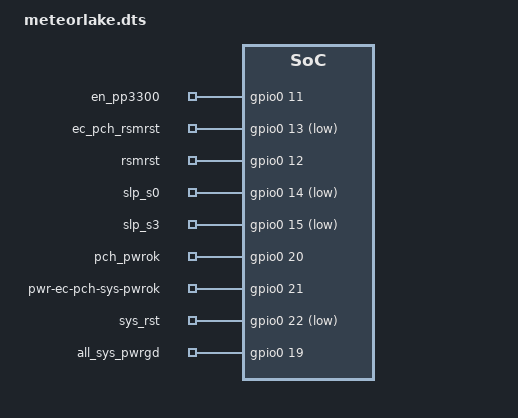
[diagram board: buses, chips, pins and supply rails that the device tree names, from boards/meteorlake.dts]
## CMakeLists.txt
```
# Copyright 2021 The ChromiumOS Authors
# Use of this source code is governed by a BSD-style license that can be
# found in the LICENSE file.

cmake_minimum_required(VERSION 3.13.1)
find_package(Zephyr REQUIRED HINTS "${ZEPHYR_BASE}")
project(ap_power)

add_subdirectory(${PLATFORM_EC}/zephyr/test/test_utils test_utils)

# Include the local test directory for shimmed_test_tasks.h
zephyr_include_directories("${CMAKE_CURRENT_SOURCE_DIR}")
zephyr_include_directories("${CMAKE_CURRENT_SOURCE_DIR}/include")

target_sources(app PRIVATE
  src/ap_pwrseq.c
  src/console_command.c
  src/events.c
  src/hibdelay.c
  src/hibernate.c
  src/host_command.c
  src/test_mocks.c
  src/main.c)

# Generic architecture tests
target_sources_ifdef(CONFIG_TEST_AP_POWER_ADL app PRIVATE
  src/boards/alderlake.c src/signals.c)

target_sources_ifdef(CONFIG_TEST_AP_POWER_MTL app PRIVATE
  src/boards/meteorlake.c)

target_sources_ifdef(CONFIG_X86_NON_DSX_PWRSEQ_CONSOLE app PRIVATE
  src/pwrseq_console.c)

# Project specific tests
target_sources_ifdef(CONFIG_TEST_AP_POWER_BROX app PRIVATE
  ${PLATFORM_EC_PROGRAM_DIR}/brox/src/board_power.c)

target_sources_ifdef(CONFIG_TEST_AP_POWER_ATRIARVP app PRIVATE
  ${PLATFORM_EC_PROGRAM_DIR}/atria/src/rvp_board_power.c
  src/boards/atriarvp.c)

target_sources_ifdef(CONFIG_TEST_AP_POWER_OCELOTRVP app PRIVATE
  ${PLATFORM_EC_PROGRAM_DIR}/intelrvp/src/dc_jack.c
  ${PLATFORM_EC_PROGRAM_DIR}/ocelot/src/rvp_board_id.c
  ${PLATFORM_EC_PROGRAM_DIR}/ocelot/src/rvp_board_power.c
  ${PLATFORM_EC_PROGRAM_DIR}/ocelot/src/rvp_usbc_runtime.c
  src/boards/ocelotrvp.c)

zephyr_include_directories_ifdef(CONFIG_TEST_AP_POWER_OCELOTRVP
  "${PLATFORM_EC_PROGRAM_DIR}/intelrvp/include"
  "${PLATFORM_EC_PROGRAM_DIR}/ocelot/include")
```

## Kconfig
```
# Copyright 2022 The ChromiumOS Authors
# Use of this source code is governed by a BSD-style license that can be
# found in the LICENSE file.

config TEST_AP_POWER_ADL
	bool "AP power sequence tests for Alderlake"
	help
	  Run the AP power sequence tests for the Alderlake chipset.
	  This is a generic Alderlake implementation that doesn't
	  match a particular board.

config TEST_AP_POWER_MTL
	bool "AP power sequence tests for Meteorlake"
	help
	  Run the AP power sequence tests for the Meteorlake chipset.
	  This is a generic Meteorlake implementation that doesn't
	  match a particular board.

config TEST_AP_POWER_ATRIARVP
	bool "AP Power sequence tests for Atria RVP project"
	help
	  Run the AP power sequence tests using the Atria RVP devicetree
	  configuration and the Atria RVP project specific source files.

config TEST_AP_POWER_BROX
	bool "AP Power sequence tests for Brox project"
	help
	  Run the AP power sequence tests using the Brox devicetree
	  configuration and the Brox project specific source files.

config TEST_AP_POWER_OCELOTRVP
	bool "AP Power sequence tests for Ocelot RVP project"
	default y if BOARD_OCELOTRVP_ITE || BOARD_OCELOTRVP_NPCX
	select EMUL_POWER_SIGNALS
	help
	  Run the AP power sequence tests using the Ocelot RVP devicetree
	  configuration and the Ocelot RVP project specific source files.

config TEST_AP_POWER_RECOVERY_MODE
	bool "AP power sequencing tests for recovery boot"
	help
	  Run AP power sequencing tests, but boot into recovery mode and verify
	  functionality of the CSE early recovery GPIO driver.

rsource "../../program/ocelot/Kconfig"
```

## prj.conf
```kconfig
<<<<<<< HEAD   (453fd99d5363bf9651b2fb0d3ffbbab7386a6376 program,zmake: drop cmsis references)
# Copyright 2022 The ChromiumOS Authors
# Use of this source code is governed by a BSD-style license that can be
# found in the LICENSE file.

CONFIG_ZTEST=y
CONFIG_ZTEST_ASSERT_VERBOSE=1
CONFIG_ZTEST_MOCKING=y
CONFIG_ZTEST_PARAMETER_COUNT=24
CONFIG_TEST=y
CONFIG_ASSERT=y

# Print logs from Zephyr LOG_MODULE to stdout
CONFIG_UART_NATIVE_PTY_0_ON_STDINOUT=y

# Simulate 10 ticks per ms
CONFIG_SYS_CLOCK_TICKS_PER_SEC=10000
CONFIG_TASKS_SET_TEST_RUNNER_TID_RULE=y

# Enable exception stack traces for better errors
CONFIG_EXCEPTION_STACK_TRACE=y

# Enable debugging features
CONFIG_DEBUG=y
CONFIG_X86_DEBUG_INFO=y
CONFIG_DEBUG_OPTIMIZATIONS=y
CONFIG_PLATFORM_EC_CONSOLE_DEBUG=y
CONFIG_SHELL_BACKEND_DUMMY=y
CONFIG_SHELL_BACKEND_SERIAL=n
# We aren't using the serial console, but there is still a lot of code that
# assumes that a serial port exists.
CONFIG_SERIAL=y

CONFIG_PLATFORM_EC=y
CONFIG_CROS_EC=y
CONFIG_SHIMMED_TASKS=y
CONFIG_EMUL=y
CONFIG_GPIO=y
CONFIG_HEAP_MEM_POOL_SIZE=1024

CONFIG_AP_PWRSEQ_STACK_SIZE=1024

CONFIG_ESPI=y
CONFIG_EMUL_ESPI_HOST=y
CONFIG_ESPI_PERIPHERAL_ACPI_SHM_REGION=y
CONFIG_ESPI_PERIPHERAL_CUSTOM_OPCODE=y
CONFIG_ESPI_PERIPHERAL_EC_HOST_CMD=y
CONFIG_PLATFORM_EC_HOSTCMD=y
CONFIG_PLATFORM_EC_CHIPSET_RESET_HOOK=y

# Short delay for hibernate
CONFIG_PLATFORM_EC_HIBERNATE_DELAY_SEC=20

# These items are not required.
CONFIG_PLATFORM_EC_BACKLIGHT_LID=n
CONFIG_PLATFORM_EC_SWITCH=n
CONFIG_PLATFORM_EC_VBOOT_HASH=n

CONFIG_PLATFORM_EC_LID_SWITCH=y
CONFIG_PLATFORM_EC_POWER_BUTTON=y
CONFIG_PLATFORM_EC_HOST_INTERFACE_ESPI=y
||||||| BASE   (0cb93ccd933607defa9592c423c9a9fb4946fd4d anakin: Set PDC source PDO overcurrent capability)
# Copyright 2022 The ChromiumOS Authors
# Use of this source code is governed by a BSD-style license that can be
# found in the LICENSE file.

CONFIG_ZTEST=y
CONFIG_ZTEST_ASSERT_VERBOSE=1
CONFIG_ZTEST_MOCKING=y
CONFIG_ZTEST_PARAMETER_COUNT=24
CONFIG_TEST=y
CONFIG_ASSERT=y

# Print logs from Zephyr LOG_MODULE to stdout
CONFIG_NATIVE_UART_0_ON_STDINOUT=y

# Simulate 10 ticks per ms
CONFIG_SYS_CLOCK_TICKS_PER_SEC=10000
CONFIG_TASKS_SET_TEST_RUNNER_TID_RULE=y

# Enable exception stack traces for better errors
CONFIG_EXCEPTION_STACK_TRACE=y

# Enable debugging features
CONFIG_DEBUG=y
CONFIG_X86_DEBUG_INFO=y
CONFIG_DEBUG_OPTIMIZATIONS=y
CONFIG_PLATFORM_EC_CONSOLE_DEBUG=y
CONFIG_SHELL_BACKEND_DUMMY=y
CONFIG_SHELL_BACKEND_SERIAL=n
# We aren't using the serial console, but there is still a lot of code that
# assumes that a serial port exists.
CONFIG_SERIAL=y

CONFIG_PLATFORM_EC=y
CONFIG_CROS_EC=y
CONFIG_SHIMMED_TASKS=y
CONFIG_EMUL=y
CONFIG_GPIO=y
CONFIG_HEAP_MEM_POOL_SIZE=1024

CONFIG_AP_PWRSEQ_STACK_SIZE=1024

CONFIG_ESPI=y
CONFIG_EMUL_ESPI_HOST=y
CONFIG_ESPI_PERIPHERAL_ACPI_SHM_REGION=y
CONFIG_ESPI_PERIPHERAL_CUSTOM_OPCODE=y
CONFIG_ESPI_PERIPHERAL_EC_HOST_CMD=y
CONFIG_PLATFORM_EC_HOSTCMD=y
CONFIG_PLATFORM_EC_CHIPSET_RESET_HOOK=y

# Short delay for hibernate
CONFIG_PLATFORM_EC_HIBERNATE_DELAY_SEC=20

# These items are not required.
CONFIG_PLATFORM_EC_BACKLIGHT_LID=n
CONFIG_PLATFORM_EC_SWITCH=n
CONFIG_PLATFORM_EC_VBOOT_HASH=n

CONFIG_PLATFORM_EC_LID_SWITCH=y
CONFIG_PLATFORM_EC_POWER_BUTTON=y
CONFIG_PLATFORM_EC_HOST_INTERFACE_ESPI=y
=======
>>>>>>> BRANCH (86da3bbeafeffe5727f5bfec7d9eed87995f2661 UPSTREAM: driver: add new ALS CM36781 driver code)
```

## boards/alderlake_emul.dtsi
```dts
/* Copyright 2022 The ChromiumOS Authors
 * Use of this source code is governed by a BSD-style license that can be
 * found in the LICENSE file.
 */

/ {
	en_pp3300_emul: en-pp3300-emul {
		compatible = "intel,ap-pwr-signal-emul";
		input-signal = <&en_pp3300>;
		init-value = <0>;
		pp3300-dsw-pwrok-emul {
			output-signal = <&dsw_pwrok>;
			assert-delay-ms = <10>;
			init-value= <0>;
		};
	};

	en_pp5000_emul: en-pp5000-emul {
		compatible = "intel,ap-pwr-signal-emul";
		input-signal = <&en_pp5000>;
		init-value = <0>;
		pp5000-rsmrst-emul {
			output-signal = <&rsmrst>;
			assert-delay-ms = <40>;
			init-value= <0>;
		};
	};

	ec_soc_dsw_pwrok_emul: ec-soc-dsw-pwrok-emul {
		compatible = "intel,ap-pwr-signal-emul";
		input-signal = <&ec_soc_dsw_pwrok>;
		init-value = <0>;
		ec-dsw-pwrok-slp-sus-emul {
			output-signal = <&slp_sus>;
			assert-delay-ms = <95>;
			init-value= <1>;
			invert-value;
		};
	};

	ec_pch_rsmrst_emul: ec-pch-rsmrst-emul {
		compatible = "intel,ap-pwr-signal-emul";
		input-signal = <&ec_pch_rsmrst>;
		init-value = <1>;
		ec-pch-rsmrst-slp-s5-emul {
			output-signal = <&slp_s5>;
			deassert-delay-ms = <20>;
			init-value= <1>;
		};
		ec-pch-rsmrst-slp-s4-emul {
			output-signal = <&slp_s4>;
			deassert-delay-ms = <30>;
			init-value= <1>;
		};
		ec-pch-rsmrst-slp-s3-emul {
			output-signal = <&slp_s3>;
			deassert-delay-ms = <40>;
			init-value= <1>;
		};
		ec-pch-rsmrst-slp-s0-emul {
			output-signal = <&slp_s0>;
			deassert-delay-ms = <45>;
			init-value= <1>;
		};
		ec-pch-rsmrst-all-sys-pwrgd {
			output-signal = <&all_sys_pwrgd>;
			deassert-delay-ms = <50>;
			init-value= <0>;
			invert-value;
		};
	};

	tp-sys-g3-to-s0 {
		compatible = "intel,ap-pwr-test-platform";
		nodes = <&en_pp3300_emul &en_pp5000_emul
			      &ec_soc_dsw_pwrok_emul &ec_pch_rsmrst_emul>;
	};

	pch_pwrok_power_fail_emul: pch-pwrok-power-fail-emul {
		compatible = "intel,ap-pwr-signal-emul";
		input-signal = <&pch_pwrok>;
		init-value = <0>;
		pch-pwrok-dsw-pwrok-emul {
			output-signal = <&dsw_pwrok>;
			assert-delay-ms = <50>;
			invert-value;
		};
		pch-pwrok-slp-sus-emul {
			output-signal = <&slp_sus>;
			assert-delay-ms = <60>;
		};
	};

	tp-sys-s0-power-fail {
		compatible = "intel,ap-pwr-test-platform";
		nodes = <&pch_pwrok_power_fail_emul>;
	};

	pch_pwrok_all_sys_pwrgd_fail_emul: pch-pwrok-all-sys-pwrgd-fail-emul {
		compatible = "intel,ap-pwr-signal-emul";
		input-signal = <&pch_pwrok>;
		init-value = <0>;
		edge = "EDGE_ACTIVE_ON_ASSERT";
		/* Power fails before SYS_PWROK is generated */
		pch-pwrok-all-sys-pwrgd-emul {
			output-signal = <&all_sys_pwrgd>;
			assert-delay-ms = <10>;
			invert-value;
		};
		pch-pwrok-dsw-pwrok-emul {
			output-signal = <&dsw_pwrok>;
			assert-delay-ms = <10>;
			invert-value;
		};
	};

	tp-sys-g3-to-s0-all-sys-pwrgd-fail {
		compatible = "intel,ap-pwr-test-platform";
		nodes = <&en_pp3300_emul &en_pp5000_emul
			      &ec_soc_dsw_pwrok_emul &ec_pch_rsmrst_emul
			      &pch_pwrok_all_sys_pwrgd_fail_emul>;
	};

	pch_pwrok_power_down_emul: pch-pwrok-power-down-emul {
		compatible = "intel,ap-pwr-signal-emul";
		input-signal = <&pch_pwrok>;
		init-value = <0>;
		edge = "EDGE_ACTIVE_ON_ASSERT";
		/* Stay in S0 until after SYS_PWROK is generated */
		pch-pwrok-slp-sus-emul {
			output-signal = <&slp_sus>;
			assert-delay-ms = <120>;
		};

		pch_pwrok-rsmrst-emul {
			output-signal = <&rsmrst>;
			assert-delay-ms = <110>;
		};

		pch-pwrok-slp-s5-emul {
			output-signal = <&slp_s5>;
			assert-delay-ms = <100>;
		};

		pch-pwrok-slp-s4-emul {
			output-signal = <&slp_s4>;
			assert-delay-ms = <80>;
		};

		pch-pwrok-slp-s3-emul {
			output-signal = <&slp_s3>;
			assert-delay-ms = <70>;
		};

		pch-pwrok-slp-s0-emul {
			output-signal = <&slp_s0>;
			assert-delay-ms = <65>;
		};
	};

	tp-sys-g3-to-s0-power-down {
		compatible = "intel,ap-pwr-test-platform";
		nodes = <&en_pp3300_emul &en_pp5000_emul
			      &ec_soc_dsw_pwrok_emul &ec_pch_rsmrst_emul
			      &pch_pwrok_power_down_emul>;
	};

	tp-sys-s5-slp-sus-fail {
		compatible = "intel,ap-pwr-test-platform";
		nodes = <&en_pp3300_emul>;
	};

	ec_pch_rsmrst_s4_dsw_pwrok_fail_emul:
			ec-pch-rsmrst-s4-dsw-pwrok-fail-emul {
		compatible = "intel,ap-pwr-signal-emul";
		input-signal = <&ec_pch_rsmrst>;
		init-value = <1>;
		ec-pch-rsmrst-slp-s5-emul {
			output-signal = <&slp_s5>;
			deassert-delay-ms = <20>;
			init-value= <1>;
		};
		ec-pch-rsmrst-slp-s4-emul {
			output-signal = <&slp_s4>;
			/* DSW_PWROK drops while still in S4 */
			deassert-delay-ms = <100>;
			init-value= <1>;
		};
		pch-pwrok-dsw-pwrok-emul {
			output-signal = <&dsw_pwrok>;
			deassert-delay-ms = <50>;
		};
	};

	tp-sys-s4-dsw-pwrok-fail {
		compatible = "intel,ap-pwr-test-platform";
		nodes = <&en_pp3300_emul &en_pp5000_emul &ec_soc_dsw_pwrok_emul
			     &ec_pch_rsmrst_s4_dsw_pwrok_fail_emul>;
	};

	ec_pch_rsmrst_s3_dsw_pwrok_fail_emul:
			ec-pch-rsmrst-s3-dsw-pwrok-fail-emul {
		compatible = "intel,ap-pwr-signal-emul";
		input-signal = <&ec_pch_rsmrst>;
		init-value = <1>;
		edge = "EDGE_ACTIVE_ON_DEASSERT";
		ec-pch-rsmrst-slp-s5-emul {
			output-signal = <&slp_s5>;
			deassert-delay-ms = <20>;
			init-value= <1>;
		};
		ec-pch-rsmrst-slp-s4-emul {
			output-signal = <&slp_s4>;
			deassert-delay-ms = <30>;
			init-value= <1>;
		};
		ec-pch-rsmrst-slp-s3-emul {
			output-signal = <&slp_s3>;
			/* DSW_PWROK drops while still in S3 */
			deassert-delay-ms = <100>;
			init-value= <1>;
		};
		pch-pwrok-dsw-pwrok-emul {
			output-signal = <&dsw_pwrok>;
			deassert-delay-ms = <50>;
		};
	};

	tp-sys-s3-dsw-pwrok-fail {
		compatible = "intel,ap-pwr-test-platform";
		nodes = <&en_pp3300_emul &en_pp5000_emul &ec_soc_dsw_pwrok_emul
			     &ec_pch_rsmrst_s3_dsw_pwrok_fail_emul>;
	};

	ec_pch_rsmrst_s3_rsmrst_deassert_emul:
		ec-pch-rsmrst-s3-rsmrst-deassert-emul {
		compatible = "intel,ap-pwr-signal-emul";
		input-signal = <&ec_pch_rsmrst>;
		init-value = <1>;
		edge = "EDGE_ACTIVE_ON_DEASSERT";
		ec-pch-rsmrst-slp-s5-emul {
			output-signal = <&slp_s5>;
			deassert-delay-ms = <20>;
			init-value= <1>;
		};
		ec-pch-rsmrst-slp-s4-emul {
			output-signal = <&slp_s4>;
			deassert-delay-ms = <30>;
			init-value= <1>;
		};
		ec-pch-rsmrst-slp-s3-emul {
			output-signal = <&slp_s3>;
			deassert-delay-ms = <40>;
			init-value= <1>;
		};
		ec-pch-rsmrst-slp-s3-deassert-emul {
			output-signal = <&slp_s3>;
			deassert-delay-ms = <60>;
			invert-value;
		};
		pch_pch-rsmrst-rsmrst-deassert-emul {
			output-signal = <&rsmrst>;
			deassert-delay-ms = <100>;
		};
	};

	tp-sys-s3-rsmrst-fail {
		compatible = "intel,ap-pwr-test-platform";
		nodes = <&en_pp3300_emul &en_pp5000_emul &ec_soc_dsw_pwrok_emul
			     &ec_pch_rsmrst_s3_rsmrst_deassert_emul>;
	};

	pch_sleep: pch-sleep {
		compatible = "intel,ap-pwr-signal-emul";
		input-signal = <&pch_pwrok>;

		slp-s0-suspend-emul {
			output-signal = <&slp_s0>;
			init-value=<1>;
		};
	};

	tp-sys-sleep {
		compatible = "intel,ap-pwr-test-platform";
		nodes = <&pch_sleep>;
	};

	pch_wake: pch-wake {
		compatible = "intel,ap-pwr-signal-emul";
		input-signal = <&pch_pwrok>;

		slp-s0-resume-emul {
			output-signal = <&slp_s0>;
			init-value=<0>;
		};
	};

	tp-sys-wake {
		compatible = "intel,ap-pwr-test-platform";
		nodes = <&pch_wake>;
	};

};
```

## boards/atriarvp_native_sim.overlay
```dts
/* Copyright 2026 The ChromiumOS Authors
 * Use of this source code is governed by a BSD-style license that can be
 * found in the LICENSE file.
 */

#include <board-overlays/native_sim.dts>
#include <dt-bindings/gpio_defines.h>
#include "../../../program/atria/power_signals.dtsi"
#include "mtl_emul.dtsi"

/ {
	common-pwrseq {
		s5-inactivity-timeout = <1>;
		sys-pwrok-delay = <10>;
		all-sys-pwrgd-timeout = <20>;
	};
};

/* Assign GPIO pins to all power signals that need them.
 * Clear GPIO_OPEN_DRAIN on outputs since open drain is not
 * supported by the GPIO emulator.
 */
&pwr_en_pp3300_a {
	gpios = <&gpio0 6 0>;
};
&pwr_rsmrst_pwrgd {
	gpios = <&gpio0 7 0>;
};
&pwr_ec_pch_rsmrst {
	gpios = <&gpio0 8 GPIO_ACTIVE_LOW>;
};
&pwr_slp_s0 {
	gpios = <&gpio0 9 GPIO_ACTIVE_LOW>;
};
&pwr_slp_s3 {
	gpios = <&gpio0 10 GPIO_ACTIVE_LOW>;
};
&pwr_slp_s4 {
	gpios = <&gpio0 11 GPIO_ACTIVE_LOW>;
};
&pwr_all_sys_pwrgd {
	gpios = <&gpio0 12 0>;
};
&pwr_pch_pwrok {
	gpios = <&gpio0 13 0>;
};
&pwr_sys_rst {
	gpios = <&gpio0 14 GPIO_ACTIVE_LOW>;
};
```

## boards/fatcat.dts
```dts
/* Copyright 2024 The ChromiumOS Authors
 * Use of this source code is governed by a BSD-style license that can be
 * found in the LICENSE file.
 */

#include "alderlake.dts"

/ {
	named-gpios {
		compatible = "named-gpios";
		gpio_cse_early_rec_sw: cse_early_rec_sw {
			gpios = <&gpio0 30 GPIO_ACTIVE_HIGH>;
		};
		gpio_sys_rst_odl: sys_rst_odl {
			gpios = <&gpio0 31 GPIO_ACTIVE_LOW>;
		};
		gpio_gsc_acok_ec_od: gsc_acok_ec_od {
			gpios = <&gpio0 32 GPIO_ACTIVE_HIGH>;
			enum-name = "GPIO_AC_PRESENT";
		};
	};

	/* Compatibility with ap_pwrseq.c get_cse_early_recovery_gpio_level */
	cse_early_recovery: cse-early-recovery {
		cse_early_rec_gpios = <&gpio0 30 GPIO_ACTIVE_HIGH>;
	};
};
```

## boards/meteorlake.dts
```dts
/* Copyright 2023 The ChromiumOS Authors
 * Use of this source code is governed by a BSD-style license that can be
 * found in the LICENSE file.
 */

#include <dt-bindings/gpio_defines.h>

/ {
	common-pwrseq {
		compatible = "intel,ap-pwrseq";
		s5-inactivity-timeout = <1>;
		all-sys-pwrgd-timeout = <50>;
	};

	en_pp3300: pwr-en-pp3300-s5 {
		compatible = "intel,ap-pwrseq-gpio";
		dbg-label = "PP3300_S5 enable output to LS";
		enum-name = "PWR_EN_PP3300_A";
		gpios = <&gpio0 11 0>;
		output;
	};
	ec_pch_rsmrst: pwr-ec-pch-rsmrst-odl {
		compatible = "intel,ap-pwrseq-gpio";
		dbg-label = "RSMRST output to PCH";
		enum-name = "PWR_EC_PCH_RSMRST";
		gpios = <&gpio0 13 GPIO_ACTIVE_LOW>;
		reset-val = <1>;
		output;
	};
	rsmrst: pwr-pg-ec-rsmrst-odl {
		compatible = "intel,ap-pwrseq-gpio";
		dbg-label = "RSMRST power good from regulator";
		enum-name = "PWR_RSMRST_PWRGD";
		gpios = <&gpio0 12 0>;
		interrupt-flags = <GPIO_INT_EDGE_BOTH>;
	};
	slp_s0: pwr-slp-s0-l {
		compatible = "intel,ap-pwrseq-gpio";
		dbg-label = "SLP_S0_L input from PCH";
		enum-name = "PWR_SLP_S0";
		gpios = <&gpio0 14 GPIO_ACTIVE_LOW>;
		interrupt-flags = <GPIO_INT_EDGE_BOTH>;
		no-enable;
	};
	slp_s3: pwr-slp-s3-l {
		compatible = "intel,ap-pwrseq-gpio";
		dbg-label = "SLP_S3_L input from PCH";
		enum-name = "PWR_SLP_S3";
		gpios = <&gpio0 15 GPIO_ACTIVE_LOW>;
		interrupt-flags = <GPIO_INT_EDGE_BOTH>;
	};
	pch_pwrok: pwr-pch-pwrok {
		compatible = "intel,ap-pwrseq-gpio";
		dbg-label = "PCH_PWROK output to PCH";
		enum-name = "PWR_PCH_PWROK";
		gpios = <&gpio0 20 0>;
		output;
	};
	pwr-ec-pch-sys-pwrok {
		compatible = "intel,ap-pwrseq-gpio";
		dbg-label = "SYS_PWROK output to PCH";
		enum-name = "PWR_EC_PCH_SYS_PWROK";
		gpios = <&gpio0 21 0>;
		output;
	};
	sys_rst: pwr-sys-rst-l {
		compatible = "intel,ap-pwrseq-gpio";
		dbg-label = "SYS_RESET# output to PCH";
		enum-name = "PWR_SYS_RST";
		gpios = <&gpio0 22 GPIO_ACTIVE_LOW>;
		output;
	};
	slp_s4: pwr-slp-s4 {
		compatible = "intel,ap-pwrseq-vw";
		dbg-label = "SLP_S4 virtual wire input from PCH";
		enum-name = "PWR_SLP_S4";
		virtual-wire = "ESPI_VWIRE_SIGNAL_SLP_S4";
		vw-invert;
	};
	slp_s5: pwr-slp-s5 {
		compatible = "intel,ap-pwrseq-vw";
		dbg-label = "SLP_S5 virtual wire input from PCH";
		enum-name = "PWR_SLP_S5";
		virtual-wire = "ESPI_VWIRE_SIGNAL_SLP_S5";
		vw-invert;
	};
	all_sys_pwrgd: pwr-all-sys-pwrgd {
		compatible = "intel,ap-pwrseq-gpio";
		dbg-label = "Combined all power good";
		enum-name = "PWR_ALL_SYS_PWRGD";
		gpios = <&gpio0 19 0>;
	};
	en_pp3300_emul: en-pp3300-emul {
		compatible = "intel,ap-pwr-signal-emul";
		input-signal = <&en_pp3300>;
		init-value = <0>;
		pp3300-rsmrst-emul {
			output-signal = <&rsmrst>;
			assert-delay-ms = <10>;
			init-value= <0>;
		};
	};

	ec_pch_rsmrst_emul: ec-pch-rsmrst-emul {
		compatible = "intel,ap-pwr-signal-emul";
		input-signal = <&ec_pch_rsmrst>;
		init-value = <1>;
		ec-pch-rsmrst-slp-s5-emul {
			output-signal = <&slp_s5>;
			deassert-delay-ms = <20>;
			init-value= <1>;
		};
		ec-pch-rsmrst-slp-s4-emul {
			output-signal = <&slp_s4>;
			deassert-delay-ms = <30>;
			init-value= <1>;
		};
		ec-pch-rsmrst-slp-s3-emul {
			output-signal = <&slp_s3>;
			deassert-delay-ms = <40>;
			init-value= <1>;
		};
		ec-pch-rsmrst-slp-s0-emul {
			output-signal = <&slp_s0>;
			deassert-delay-ms = <45>;
			init-value= <1>;
		};
		ec-pch-rsmrst-all-sys-pwrgd {
			output-signal = <&all_sys_pwrgd>;
			deassert-delay-ms = <50>;
			init-value= <0>;
			invert-value;
		};
	};

	ec_pch_rsmrst_rst_emul: ec-pch-rsmrst-rst-emul {
		compatible = "intel,ap-pwr-signal-emul";
		input-signal = <&ec_pch_rsmrst>;
		init-value = <1>;
		ec-pch-rsmrst-slp-s5-emul {
			output-signal = <&slp_s5>;
			deassert-delay-ms = <20>;
			init-value= <1>;
		};
		ec-pch-rsmrst-slp-s4-emul {
			output-signal = <&slp_s4>;
			deassert-delay-ms = <30>;
			init-value= <1>;
		};
		ec-pch-rsmrst-slp-s3-emul {
			output-signal = <&slp_s3>;
			deassert-delay-ms = <40>;
			init-value= <1>;
		};
		ec-pch-rsmrst-all-sys-pwrgd {
			output-signal = <&all_sys_pwrgd>;
			deassert-delay-ms = <50>;
			init-value= <0>;
			invert-value;
		};
		ec-pch-rsmrst-slp-s0-emul {
			output-signal = <&slp_s0>;
			assert-delay-ms = <150>;
			init-value= <0>;
			invert-value;
		};
	};
	tp-sys-g3-to-s0 {
		compatible = "intel,ap-pwr-test-platform";
		nodes = <&en_pp3300_emul &ec_pch_rsmrst_emul>;
	};

	en_pp3300_no_rsmrst_emul: en-pp3300-no-rsmrst-emul {
		compatible = "intel,ap-pwr-signal-emul";
		input-signal = <&en_pp3300>;
		init-value = <0>;
		edge = "EDGE_ACTIVE_ON_DEASSERT";
		/* RSMRST power good never asserts after the rail is enabled */
		pp3300-rsmrst-emul {
			output-signal = <&rsmrst>;
			init-value = <0>;
		};
	};

	tp-sys-g3-to-s0-timeout {
		compatible = "intel,ap-pwr-test-platform";
		nodes = <&en_pp3300_no_rsmrst_emul>;
	};

	pch_pwrok_power_fail_emul: pch-pwrok-power-fail-emul {
		compatible = "intel,ap-pwr-signal-emul";
		input-signal = <&pch_pwrok>;
		init-value = <0>;
		edge = "EDGE_ACTIVE_ON_ASSERT";
		pch-pwrok-rsmrst-emul {
			output-signal = <&rsmrst>;
			assert-delay-ms = <60>;
			invert-value;
		};
	};

	tp-sys-s0-power-fail {
		compatible = "intel,ap-pwr-test-platform";
		nodes = <&pch_pwrok_power_fail_emul>;
	};

	all_sys_pwrgd_fail_emul: all-sys-pwrgd-fail-emul {
		compatible = "intel,ap-pwr-signal-emul";
		input-signal = <&all_sys_pwrgd>;
		init-value = <0>;
		edge = "EDGE_ACTIVE_ON_ASSERT";
		/* Power good drops again before SYS_PWROK is generated */
		all-sys-pwrgd-fail-emul {
			output-signal = <&all_sys_pwrgd>;
			assert-delay-ms = <10>;
			invert-value;
		};
	};

	tp-sys-g3-to-s0-all-sys-pwrgd-fail {
		compatible = "intel,ap-pwr-test-platform";
		nodes = <&en_pp3300_emul &ec_pch_rsmrst_emul
			      &all_sys_pwrgd_fail_emul>;
	};

	pch_pwrok_power_down_emul: pch-pwrok-power-down-emul {
		compatible = "intel,ap-pwr-signal-emul";
		input-signal = <&pch_pwrok>;
		init-value = <0>;
		edge = "EDGE_ACTIVE_ON_ASSERT";
		pch_pwrok-rsmrst-emul {
			output-signal = <&rsmrst>;
			assert-delay-ms = <90>;
		};

		pch-pwrok-slp-s5-emul {
			output-signal = <&slp_s5>;
			assert-delay-ms = <60>;
		};

		pch-pwrok-slp-s4-emul {
			output-signal = <&slp_s4>;
			assert-delay-ms = <40>;
		};

		pch-pwrok-slp-s3-emul {
			output-signal = <&slp_s3>;
			assert-delay-ms = <20>;
		};

		pch-pwrok-slp-s0-emul {
			output-signal = <&slp_s0>;
			assert-delay-ms = <15>;
		};
	};

	tp-sys-g3-to-s0-power-down {
		compatible = "intel,ap-pwr-test-platform";
		nodes = <&en_pp3300_emul &ec_pch_rsmrst_emul
			      &pch_pwrok_power_down_emul>;
	};

	ec_pch_rsmrst_s3_rsmrst_deassert_emul:
		ec-pch-rsmrst-s3-rsmrst-deassert-emul {
		compatible = "intel,ap-pwr-signal-emul";
		input-signal = <&ec_pch_rsmrst>;
		init-value = <1>;
		edge = "EDGE_ACTIVE_ON_DEASSERT";
		ec-pch-rsmrst-slp-s5-emul {
			output-signal = <&slp_s5>;
			deassert-delay-ms = <20>;
			init-value= <1>;
		};
		ec-pch-rsmrst-slp-s4-emul {
			output-signal = <&slp_s4>;
			deassert-delay-ms = <30>;
			init-value= <1>;
		};
		ec-pch-rsmrst-slp-s3-emul {
			output-signal = <&slp_s3>;
			deassert-delay-ms = <40>;
			init-value= <1>;
		};
		ec-pch-rsmrst-slp-s3-deassert-emul {
			output-signal = <&slp_s3>;
			deassert-delay-ms = <60>;
			invert-value;
		};
		pch_pch-rsmrst-rsmrst-deassert-emul {
			output-signal = <&rsmrst>;
			deassert-delay-ms = <100>;
		};
	};

	tp-sys-s3-rsmrst-fail {
		compatible = "intel,ap-pwr-test-platform";
		nodes = <&en_pp3300_emul
				&ec_pch_rsmrst_s3_rsmrst_deassert_emul>;
	};

	pch_sleep: pch-sleep {
		compatible = "intel,ap-pwr-signal-emul";
		input-signal = <&pch_pwrok>;

		slp-s0-suspend-emul {
			output-signal = <&slp_s0>;
			init-value=<1>;
		};
	};

	tp-sys-sleep {
		compatible = "intel,ap-pwr-test-platform";
		nodes = <&pch_sleep>;
	};

	sys_rst_slp_s0_emul: sys-rst-slp-s0-emul {
		compatible = "intel,ap-pwr-signal-emul";
		input-signal = <&sys_rst>;
		init-value = <0>;
		edge = "EDGE_ACTIVE_ON_ASSERT";
		sys-rst-slp-s0-emul {
			output-signal = <&slp_s0>;
			deassert-delay-ms = <1>;
	        };
		sys-rst-rsmrst-emul {
			output-signal = <&rsmrst>;
			assert-delay-ms = <100>;
			invert-value;
	        };
	};

	tp-sys-g3-to-sleep-reset-then-power-fail {
		compatible = "intel,ap-pwr-test-platform";
		nodes = <&en_pp3300_emul &ec_pch_rsmrst_rst_emul &sys_rst_slp_s0_emul>;
	};

	pch_wake: pch-wake {
		compatible = "intel,ap-pwr-signal-emul";
		input-signal = <&pch_pwrok>;

		slp-s0-resume-emul {
			output-signal = <&slp_s0>;
			init-value=<0>;
		};
	};

	tp-sys-wake {
		compatible = "intel,ap-pwr-test-platform";
		nodes = <&pch_wake>;
	};
};
```

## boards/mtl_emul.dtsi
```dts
/* Copyright 2026 The ChromiumOS Authors
 * Use of this source code is governed by a BSD-style license that can be
 * found in the LICENSE file.
 */

/ {
	/*
	 * Add labels to sleep state nodes so emulators can reference them
	 * regardless of whether the board uses GPIOs or eSPI virtual wires.
	 */
	slp_s3: pwr-slp-s3 {
	};

	slp_s4: pwr-slp-s4 {
	};

	slp_s5: pwr-slp-s5 {
	};

	en_pp3300_emul: en-pp3300-emul {
		compatible = "intel,ap-pwr-signal-emul";
		input-signal = <&pwr_en_pp3300_a>;
		init-value = <0>;
		pp3300-rsmrst-emul {
			output-signal = <&pwr_rsmrst_pwrgd>;
			assert-delay-ms = <10>;
			init-value = <0>;
		};
	};

	ec_pch_rsmrst_emul: ec-pch-rsmrst-emul {
		compatible = "intel,ap-pwr-signal-emul";
		input-signal = <&pwr_ec_pch_rsmrst>;
		init-value = <1>;
		ec-pch-rsmrst-slp-s5-emul {
			output-signal = <&slp_s5>;
			deassert-delay-ms = <20>;
			init-value = <1>;
		};
		ec-pch-rsmrst-slp-s4-emul {
			output-signal = <&slp_s4>;
			deassert-delay-ms = <30>;
			init-value = <1>;
		};
		ec-pch-rsmrst-slp-s3-emul {
			output-signal = <&slp_s3>;
			deassert-delay-ms = <40>;
			init-value = <1>;
		};
		ec-pch-rsmrst-slp-s0-emul {
			output-signal = <&pwr_slp_s0>;
			deassert-delay-ms = <45>;
			init-value = <1>;
		};
		ec-pch-rsmrst-all-sys-pwrgd {
			output-signal = <&pwr_all_sys_pwrgd>;
			deassert-delay-ms = <50>;
			init-value = <0>;
			invert-value;
		};
	};

	ec_pch_rsmrst_rst_emul: ec-pch-rsmrst-rst-emul {
		compatible = "intel,ap-pwr-signal-emul";
		input-signal = <&pwr_ec_pch_rsmrst>;
		init-value = <1>;
		ec-pch-rsmrst-slp-s5-emul {
			output-signal = <&slp_s5>;
			deassert-delay-ms = <20>;
			init-value = <1>;
		};
		ec-pch-rsmrst-slp-s4-emul {
			output-signal = <&slp_s4>;
			deassert-delay-ms = <30>;
			init-value = <1>;
		};
		ec-pch-rsmrst-slp-s3-emul {
			output-signal = <&slp_s3>;
			deassert-delay-ms = <40>;
			init-value = <1>;
		};
		ec-pch-rsmrst-all-sys-pwrgd {
			output-signal = <&pwr_all_sys_pwrgd>;
			deassert-delay-ms = <50>;
			init-value = <0>;
			invert-value;
		};
		ec-pch-rsmrst-slp-s0-emul {
			output-signal = <&pwr_slp_s0>;
			assert-delay-ms = <150>;
			init-value = <0>;
			invert-value;
		};
	};

	pch_pwrok_power_fail_emul: pch-pwrok-power-fail-emul {
		compatible = "intel,ap-pwr-signal-emul";
		input-signal = <&pwr_pch_pwrok>;
		init-value = <0>;
		edge = "EDGE_ACTIVE_ON_ASSERT";
		pch-pwrok-rsmrst-emul {
			output-signal = <&pwr_rsmrst_pwrgd>;
			assert-delay-ms = <60>;
			invert-value;
		};
	};

	pch_pwrok_power_down_emul: pch-pwrok-power-down-emul {
		compatible = "intel,ap-pwr-signal-emul";
		input-signal = <&pwr_pch_pwrok>;
		init-value = <0>;
		edge = "EDGE_ACTIVE_ON_ASSERT";
		pch-pwrok-rsmrst-emul {
			output-signal = <&pwr_rsmrst_pwrgd>;
			assert-delay-ms = <90>;
		};
		pch-pwrok-slp-s5-emul {
			output-signal = <&slp_s5>;
			assert-delay-ms = <60>;
		};
		pch-pwrok-slp-s4-emul {
			output-signal = <&slp_s4>;
			assert-delay-ms = <40>;
		};
		pch-pwrok-slp-s3-emul {
			output-signal = <&slp_s3>;
			assert-delay-ms = <20>;
		};
		pch-pwrok-slp-s0-emul {
			output-signal = <&pwr_slp_s0>;
			assert-delay-ms = <15>;
		};
	};

	ec_pch_rsmrst_s3_rsmrst_deassert_emul:
		ec-pch-rsmrst-s3-rsmrst-deassert-emul {
		compatible = "intel,ap-pwr-signal-emul";
		input-signal = <&pwr_ec_pch_rsmrst>;
		init-value = <1>;
		edge = "EDGE_ACTIVE_ON_DEASSERT";
		ec-pch-rsmrst-slp-s5-emul {
			output-signal = <&slp_s5>;
			deassert-delay-ms = <20>;
			init-value = <1>;
		};
		ec-pch-rsmrst-slp-s4-emul {
			output-signal = <&slp_s4>;
			deassert-delay-ms = <30>;
			init-value = <1>;
		};
		ec-pch-rsmrst-slp-s3-emul {
			output-signal = <&slp_s3>;
			deassert-delay-ms = <40>;
			init-value = <1>;
		};
		ec-pch-rsmrst-slp-s3-deassert-emul {
			output-signal = <&slp_s3>;
			deassert-delay-ms = <60>;
			invert-value;
		};
		pch-pch-rsmrst-rsmrst-deassert-emul {
			output-signal = <&pwr_rsmrst_pwrgd>;
			deassert-delay-ms = <100>;
		};
	};

	sys_rst_slp_s0_emul: sys-rst-slp-s0-emul {
		compatible = "intel,ap-pwr-signal-emul";
		input-signal = <&pwr_sys_rst>;
		init-value = <0>;
		edge = "EDGE_ACTIVE_ON_ASSERT";
		sys-rst-slp-s0-emul {
			output-signal = <&pwr_slp_s0>;
			deassert-delay-ms = <1>;
		};
		sys-rst-rsmrst-emul {
			output-signal = <&pwr_rsmrst_pwrgd>;
			assert-delay-ms = <100>;
			invert-value;
		};
	};

	pch_sleep: pch-sleep {
		compatible = "intel,ap-pwr-signal-emul";
		input-signal = <&pwr_pch_pwrok>;
		slp-s0-suspend-emul {
			output-signal = <&pwr_slp_s0>;
			init-value = <1>;
		};
	};

	pch_wake: pch-wake {
		compatible = "intel,ap-pwr-signal-emul";
		input-signal = <&pwr_pch_pwrok>;
		slp-s0-resume-emul {
			output-signal = <&pwr_slp_s0>;
			init-value = <0>;
		};
	};

	tp-sys-g3-to-s0 {
		compatible = "intel,ap-pwr-test-platform";
		nodes = <&en_pp3300_emul &ec_pch_rsmrst_emul>;
	};

	tp-sys-g3-to-s0-timeout {
		compatible = "intel,ap-pwr-test-platform";
		nodes = <&en_pp3300_emul>;
	};

	tp-sys-s0-power-fail {
		compatible = "intel,ap-pwr-test-platform";
		nodes = <&pch_pwrok_power_fail_emul>;
	};

	tp-sys-g3-to-s0-power-down {
		compatible = "intel,ap-pwr-test-platform";
		nodes = <&en_pp3300_emul &ec_pch_rsmrst_emul
			      &pch_pwrok_power_down_emul>;
	};

	tp-sys-s3-rsmrst-fail {
		compatible = "intel,ap-pwr-test-platform";
		nodes = <&en_pp3300_emul
			      &ec_pch_rsmrst_s3_rsmrst_deassert_emul>;
	};

	tp-sys-g3-to-sleep-reset-then-power-fail {
		compatible = "intel,ap-pwr-test-platform";
		nodes = <&en_pp3300_emul &ec_pch_rsmrst_rst_emul
			      &sys_rst_slp_s0_emul>;
	};

	tp-sys-sleep {
		compatible = "intel,ap-pwr-test-platform";
		nodes = <&pch_sleep>;
	};

	tp-sys-wake {
		compatible = "intel,ap-pwr-test-platform";
		nodes = <&pch_wake>;
	};
};

/ {
	chosen {
		/delete-property/ zephyr,host-cmd-espi-backend;
	};
};
```

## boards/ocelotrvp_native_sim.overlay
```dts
/* Copyright 2026 The ChromiumOS Authors
 * Use of this source code is governed by a BSD-style license that can be
 * found in the LICENSE file.
 */

#include <dt-bindings/gpio_defines.h>
#include "mtl_emul.dtsi"

/ {
	common-pwrseq {
		s5-inactivity-timeout = <1>;
		sys-pwrok-delay = <3>;
		all-sys-pwrgd-timeout = <20>;
		sys-reset-delay = <60>;
	};
};
```

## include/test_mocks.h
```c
/* Copyright 2022 The ChromiumOS Authors
 * Use of this source code is governed by a BSD-style license that can be
 * found in the LICENSE file.
 */

#ifndef PLATFORM_EC_ZEPHYR_TEST_AP_POWER_INCLUDE_TEST_MOCKS_H_
#define PLATFORM_EC_ZEPHYR_TEST_AP_POWER_INCLUDE_TEST_MOCKS_H_

#include "gpio_signal.h"

#include <stdint.h>

#include <zephyr/fff.h>

/*
 * Mock declarations
 */

/* Mocks for common/extpower_gpio.c */
DECLARE_FAKE_VALUE_FUNC(int, extpower_is_present);
DECLARE_FAKE_VOID_FUNC(extpower_interrupt, enum gpio_signal);

/* Mocks for common/system.c */
DECLARE_FAKE_VOID_FUNC(system_hibernate, uint32_t, uint32_t);
DECLARE_FAKE_VALUE_FUNC(int, system_can_boot_ap);

#endif /* PLATFORM_EC_ZEPHYR_TEST_AP_POWER_INCLUDE_TEST_MOCKS_H_ */
```

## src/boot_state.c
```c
/* Copyright 2026 The ChromiumOS Authors
 * Use of this source code is governed by a BSD-style license that can be
 * found in the LICENSE file.
 */

/**
 * @file
 * @brief Tests for detecting the AP power state when the EC boots.
 *
 * The EC can be reset while the AP stays powered (e.g. EC firmware update or
 * EC watchdog). On boot, chipset_pwr_seq_get_state() reads the power signals
 * to determine which state the AP is in, so the power sequence resumes from
 * that state instead of shutting the AP down.
 *
 * Each scenario presets the power signals in a pre-main suite, then checks
 * the resulting AP power state after ec_app_main() has started the power
 * sequence.
 */

#include "ap_power/ap_power.h"
#include "ap_power/ap_power_interface.h"
#include "power_signals.h"
#include "test_state.h"

#include <zephyr/drivers/emul_stub_device.h>
#include <zephyr/drivers/espi.h>
#include <zephyr/drivers/espi_emul.h>
#include <zephyr/drivers/gpio/gpio_emul.h>
#include <zephyr/kernel.h>
#include <zephyr/ztest.h>

#include <ap_power_override_functions.h>

static int power_shutdown_count;
static int power_hard_off_count;
static int power_suspend_count;

static void boot_state_ev_handler(struct ap_power_ev_callback *callback,
				  struct ap_power_ev_data data)
{
	switch (data.event) {
	case AP_POWER_SHUTDOWN:
		power_shutdown_count++;
		break;
	case AP_POWER_HARD_OFF:
		power_hard_off_count++;
		break;
	case AP_POWER_SUSPEND:
		power_suspend_count++;
		break;
	default:
		break;
	}
}
AP_POWER_EVENT_CALLBACK_DEFINE(boot_state_ev_handler, AP_POWER_SHUTDOWN,
			       AP_POWER_HARD_OFF, AP_POWER_SUSPEND);

static const struct device *const espi =
	DEVICE_DT_GET_ANY(zephyr_espi_emul_controller);

static void set_input(const struct gpio_dt_spec *spec, int value)
{
	zassert_ok(gpio_emul_input_set(spec->port, spec->pin, value));
}

/*
 * Drive the SLP_Sx virtual wires. The wires are active low, so
 * asserted == level 0.
 */
static void __maybe_unused send_slp_vw(enum espi_vwire_signal vw, bool asserted)
{
	zassert_ok(emul_espi_host_send_vw(espi, vw, asserted ? 0 : 1));
}

/*
 * Present the primary rails as on and RSMRST released to the PCH, which is
 * the minimum needed for the VW signals to be readable.
 */
static void __maybe_unused preset_rails_on(void)
{
	const struct gpio_dt_spec rsmrst_pwrgd =
		GPIO_DT_SPEC_GET(DT_NODELABEL(pwr_rsmrst_pwrgd), gpios);

	set_input(&rsmrst_pwrgd, 1);
	zassert_ok(power_signal_set(PWR_EN_PP3300_A, 1));
	zassert_ok(power_signal_set(PWR_EC_PCH_RSMRST, 0));
}

static void __maybe_unused preset_all_sys_pwrgd(int value)
{
	const struct gpio_dt_spec all_sys_pwrgd =
		GPIO_DT_SPEC_GET(DT_NODELABEL(pwr_all_sys_pwrgd), gpios);

	set_input(&all_sys_pwrgd, value);
}

#if defined(CONFIG_TEST_AP_POWER_BOOT_S0)
ZTEST(boot_state_preset, test_preset_s0)
{
	preset_rails_on();
	preset_all_sys_pwrgd(1);
	zassert_ok(power_signal_set(PWR_PCH_PWROK, 1));
	send_slp_vw(ESPI_VWIRE_SIGNAL_SLP_S3, false);
	send_slp_vw(ESPI_VWIRE_SIGNAL_SLP_S4, false);
	send_slp_vw(ESPI_VWIRE_SIGNAL_SLP_S5, false);
}

ZTEST(boot_state, test_boot_s0)
{
	zassert_true(ap_power_in_state(AP_POWER_STATE_ON));

	/* AP must be left running, not power cycled. */
	k_msleep(100);
	zassert_true(ap_power_in_state(AP_POWER_STATE_ON));
	zassert_equal(1, power_signal_get(PWR_EN_PP3300_A));
	zassert_equal(1, power_signal_get(PWR_PCH_PWROK));
	zassert_equal(0, power_signal_get(PWR_EC_PCH_RSMRST));
	zassert_equal(0, power_shutdown_count);
	zassert_equal(0, power_hard_off_count);
}
#endif /* CONFIG_TEST_AP_POWER_BOOT_S0 */

#if defined(CONFIG_TEST_AP_POWER_BOOT_S3)
/*
 * Deliver the SLP_Sx wires some time after the EC starts, as happens when
 * the eSPI link has to be re-established after an EC reset. Each wire
 * arrives separately so the detection has to wait for all of them.
 */
static void send_s3_vw(struct k_work *work);
static K_WORK_DELAYABLE_DEFINE(send_s3_vw_work, send_s3_vw);

static void send_s3_vw(struct k_work *work)
{
	static int step;

	switch (step++) {
	case 0:
		send_slp_vw(ESPI_VWIRE_SIGNAL_SLP_S3, true);
		break;
	case 1:
		send_slp_vw(ESPI_VWIRE_SIGNAL_SLP_S4, false);
		break;
	default:
		send_slp_vw(ESPI_VWIRE_SIGNAL_SLP_S5, false);
		return;
	}
	k_work_reschedule(&send_s3_vw_work, K_MSEC(100));
}

ZTEST(boot_state_preset, test_preset_s3)
{
	/* eSPI reset asserted, so no VW values are known yet. */
	struct espi_event evt = {
		.evt_type = ESPI_BUS_RESET,
		.evt_data = 0,
	};

	preset_rails_on();
	preset_all_sys_pwrgd(0);

	zassert_ok(((const struct emul_espi_driver_api *)espi->api)
			   ->trigger_event(espi, &evt));
	zassert_equal(-EINVAL, power_signal_get(PWR_SLP_S3));
	zassert_equal(-EINVAL, power_signal_get(PWR_SLP_S4));
	zassert_equal(-EINVAL, power_signal_get(PWR_SLP_S5));

	k_work_reschedule(&send_s3_vw_work, K_MSEC(100));
}

ZTEST(boot_state, test_boot_s3)
{
	/*
	 * Detection must have waited for the SLP_Sx wires, otherwise the
	 * state is undeterminable and the AP is shut down.
	 */
	zassert_true(ap_power_in_state(AP_POWER_STATE_SUSPEND));

	k_msleep(500);
	zassert_true(ap_power_in_state(AP_POWER_STATE_SUSPEND));
	zassert_equal(1, power_signal_get(PWR_EN_PP3300_A));
	zassert_equal(0, power_signal_get(PWR_EC_PCH_RSMRST));
	/* Already suspended, so no S0 -> S3 transition is reported. */
	zassert_equal(0, power_suspend_count);
	zassert_equal(0, power_shutdown_count);
	zassert_equal(0, power_hard_off_count);
}
#endif /* CONFIG_TEST_AP_POWER_BOOT_S3 */

#if defined(CONFIG_TEST_AP_POWER_BOOT_S5)
ZTEST(boot_state_preset, test_preset_s5)
{
	preset_rails_on();
	preset_all_sys_pwrgd(0);
	send_slp_vw(ESPI_VWIRE_SIGNAL_SLP_S3, false);
	send_slp_vw(ESPI_VWIRE_SIGNAL_SLP_S4, true);
	send_slp_vw(ESPI_VWIRE_SIGNAL_SLP_S5, true);
}

ZTEST(boot_state, test_boot_s5)
{
	const struct gpio_dt_spec rsmrst_pwrgd =
		GPIO_DT_SPEC_GET(DT_NODELABEL(pwr_rsmrst_pwrgd), gpios);

	zassert_true(ap_power_in_state(AP_POWER_STATE_SOFT_OFF));
	zassert_equal(1, power_signal_get(PWR_EN_PP3300_A));
	zassert_equal(0, power_hard_off_count);

	/* Rails drop once the EC turns them off. */
	set_input(&rsmrst_pwrgd, 0);

	/* S5 inactivity timeout then drops the AP to G3. */
	k_msleep(AP_PWRSEQ_DT_VALUE(s5_inactivity_timeout) * MSEC_PER_SEC +
		 500);
	zassert_true(ap_power_in_state(AP_POWER_STATE_HARD_OFF));
	zassert_equal(0, power_signal_get(PWR_EN_PP3300_A));
	zassert_equal(1, power_hard_off_count);
}
#endif /* CONFIG_TEST_AP_POWER_BOOT_S5 */

#if defined(CONFIG_TEST_AP_POWER_BOOT_UNKNOWN)
ZTEST(boot_state_preset, test_preset_unknown)
{
	/* Rails up but no sleep state asserted and system power not good. */
	preset_rails_on();
	preset_all_sys_pwrgd(0);
	send_slp_vw(ESPI_VWIRE_SIGNAL_SLP_S3, false);
	send_slp_vw(ESPI_VWIRE_SIGNAL_SLP_S4, false);
	send_slp_vw(ESPI_VWIRE_SIGNAL_SLP_S5, false);
}

ZTEST(boot_state, test_boot_unknown)
{
	/* The AP is forced off when its state can't be determined. */
	zassert_true(ap_power_in_state(AP_POWER_STATE_HARD_OFF));
	zassert_equal(0, power_signal_get(PWR_EN_PP3300_A));
	zassert_equal(1, power_signal_get(PWR_EC_PCH_RSMRST));
}
#endif /* CONFIG_TEST_AP_POWER_BOOT_UNKNOWN */

#if defined(CONFIG_TEST_AP_POWER_BOOT_RSMRST)
ZTEST(boot_state_preset, test_preset_rsmrst)
{
	const struct gpio_dt_spec rsmrst_pwrgd =
		GPIO_DT_SPEC_GET(DT_NODELABEL(pwr_rsmrst_pwrgd), gpios);
	/* The PCH is held in reset, so the eSPI link is down. */
	struct espi_event evt = {
		.evt_type = ESPI_BUS_RESET,
		.evt_data = 0,
	};

	/* Rails up, but RSMRST is still asserted to the PCH. */
	set_input(&rsmrst_pwrgd, 1);
	zassert_ok(power_signal_set(PWR_EN_PP3300_A, 1));
	zassert_equal(1, power_signal_get(PWR_EC_PCH_RSMRST));
	zassert_ok(((const struct emul_espi_driver_api *)espi->api)
			   ->trigger_event(espi, &evt));
}

ZTEST(boot_state, test_boot_rsmrst)
{
	/*
	 * The VW signals can't be read with the PCH in reset, so the AP is
	 * shut down without waiting for them.
	 */
	zassert_true(k_uptime_get() < 1000, "Boot waited for the VW signals");
	zassert_true(ap_power_in_state(AP_POWER_STATE_HARD_OFF));
	zassert_equal(0, power_signal_get(PWR_EN_PP3300_A));
	zassert_equal(1, power_signal_get(PWR_EC_PCH_RSMRST));
}
#endif /* CONFIG_TEST_AP_POWER_BOOT_RSMRST */

ZTEST_SUITE(boot_state_preset, ap_power_predicate_pre_main, NULL, NULL, NULL,
	    NULL);

ZTEST_SUITE(boot_state, ap_power_predicate_post_main, NULL, NULL, NULL, NULL);

/* These 2 lines are needed because we don't define an espi host driver */
#define DT_DRV_COMPAT zephyr_espi_emul_espi_host
DT_INST_FOREACH_STATUS_OKAY(EMUL_STUB_DEVICE);
```

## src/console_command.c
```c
/* Copyright 2022 The ChromiumOS Authors
 * Use of this source code is governed by a BSD-style license that can be
 * found in the LICENSE file.
 */

#include "console.h"
#include "ec_commands.h"
#include "test_state.h"

#include <zephyr/shell/shell.h>
#include <zephyr/ztest.h>

ZTEST_USER(console_cmd_debug_mode, test_debug_mode_default)
{
	zassert_ok(shell_execute_cmd(get_ec_shell(), "debug_mode"),
		   "failed to get debug_mode");
}

ZTEST_USER(console_cmd_debug_mode, test_debug_mode_disabled)
{
	zassert_ok(shell_execute_cmd(get_ec_shell(), "debug_mode disable"),
		   "failed to disable debug_mode");
}

ZTEST_USER(console_cmd_debug_mode, test_debug_mode_enabled)
{
	zassert_ok(shell_execute_cmd(get_ec_shell(), "debug_mode enable"),
		   "failed to enable debug_mode");
}

ZTEST_USER(console_cmd_debug_mode, test_debug_mode_invalid_param)
{
	zassert_equal(EC_ERROR_PARAM1,
		      shell_execute_cmd(get_ec_shell(), "debug_mode bogus"),
		      "invalid debug_mode param should fail");
}

ZTEST_SUITE(console_cmd_debug_mode, ap_power_predicate_post_main, NULL, NULL,
	    NULL, NULL);
```

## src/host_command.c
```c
<<<<<<< HEAD   (453fd99d5363bf9651b2fb0d3ffbbab7386a6376 program,zmake: drop cmsis references)
/* Copyright 2022 The ChromiumOS Authors
 * Use of this source code is governed by a BSD-style license that can be
 * found in the LICENSE file.
 */

#include "ec_commands.h"
#include "host_command.h"
#include "test_state.h"

#include <zephyr/drivers/emul_stub_device.h>
#include <zephyr/ztest.h>

ZTEST(host_cmd, test_hibernate_get)
{
	struct ec_response_hibernation_delay response;
	struct ec_params_hibernation_delay params = {
		.seconds = 0,
	};

	zassert_ok(ec_cmd_hibernation_delay(NULL, &params, &response));
	params.seconds = 123;
	zassert_ok(ec_cmd_hibernation_delay(NULL, &params, &response));
	zassert_equal(123, response.hibernate_delay, NULL);
}

ZTEST_SUITE(host_cmd, ap_power_predicate_post_main, NULL, NULL, NULL, NULL);

/* These 2 lines are needed because we don't define an espi host driver */
#define DT_DRV_COMPAT zephyr_espi_emul_espi_host
DT_INST_FOREACH_STATUS_OKAY(EMUL_STUB_DEVICE);
||||||| BASE   (0cb93ccd933607defa9592c423c9a9fb4946fd4d anakin: Set PDC source PDO overcurrent capability)
/* Copyright 2022 The ChromiumOS Authors
 * Use of this source code is governed by a BSD-style license that can be
 * found in the LICENSE file.
 */

#include "ec_commands.h"
#include "emul/emul_stub_device.h"
#include "host_command.h"
#include "test_state.h"

#include <zephyr/ztest.h>

ZTEST(host_cmd, test_hibernate_get)
{
	struct ec_response_hibernation_delay response;
	struct ec_params_hibernation_delay params = {
		.seconds = 0,
	};

	zassert_ok(ec_cmd_hibernation_delay(NULL, &params, &response));
	params.seconds = 123;
	zassert_ok(ec_cmd_hibernation_delay(NULL, &params, &response));
	zassert_equal(123, response.hibernate_delay, NULL);
}

ZTEST_SUITE(host_cmd, ap_power_predicate_post_main, NULL, NULL, NULL, NULL);

/* These 2 lines are needed because we don't define an espi host driver */
#define DT_DRV_COMPAT zephyr_espi_emul_espi_host
DT_INST_FOREACH_STATUS_OKAY(EMUL_STUB_DEVICE);
=======
>>>>>>> BRANCH (86da3bbeafeffe5727f5bfec7d9eed87995f2661 UPSTREAM: driver: add new ALS CM36781 driver code)
```

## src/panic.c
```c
/* Copyright 2026 The ChromiumOS Authors
 * Use of this source code is governed by a BSD-style license that can be
 * found in the LICENSE file.
 */

#include "panic.h"
#include "power_signals.h"
#include "test_state.h"

#include <zephyr/ztest.h>

/**
 * @brief TestPurpose: Watchdog warning snapshots AP power state/signals
 *
 * Expected Results
 *  - The watchdog struct records the cached power signal mask.
 *  - The power state maps to a valid enum panic_power_state value.
 */
ZTEST(panic_watchdog, test_watchdog_warning_power_snapshot)
{
	struct panic_data *pdata;

	panic_data_write_watchdog_warning(0, 0, 0);
	pdata = panic_get_data();

	zassert_not_null(pdata);
	zassert_equal(pdata->arch, PANIC_ARCH_WATCHDOG);
	zassert_equal(pdata->wd.power_signals, power_get_signals_cached());
	zassert_true(pdata->wd.power_state <= PANIC_POWER_S0S0IX,
		     "Unexpected power_state %u", pdata->wd.power_state);
}

ZTEST_SUITE(panic_watchdog, ap_power_predicate_post_main, NULL, NULL, NULL,
	    NULL);
```

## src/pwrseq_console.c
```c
/* Copyright 2023 The ChromiumOS Authors
 * Use of this source code is governed by a BSD-style license that can be
 * found in the LICENSE file.
 */

#include "chipset.h"
#include "console.h"
#include "test_state.h"

#include <zephyr/shell/shell.h>
#include <zephyr/shell/shell_dummy.h>
#include <zephyr/ztest.h>

ZTEST(console_cmd_pwrseq, test_cmd_apreset)
{
	zassert_ok(shell_execute_cmd(get_ec_shell(), "apreset"),
		   "apreset console command failed");
}

ZTEST(console_cmd_pwrseq, test_cmd_apshutdown)
{
	zassert_ok(shell_execute_cmd(get_ec_shell(), "apshutdown"),
		   "apshutdown console command failed");
}

ZTEST(console_cmd_pwrseq, test_cmd_powerinfo)
{
	const struct shell *shell_zephyr = get_ec_shell();
	const char *outbuffer;
	size_t buffer_size;

	zassert_true(chipset_in_state(CHIPSET_STATE_HARD_OFF),
		     "AP should be in G3");

	shell_backend_dummy_clear_output(shell_zephyr);
	zassert_ok(shell_execute_cmd(shell_zephyr, "powerinfo"),
		   "powerinfo console command failed");
	outbuffer = shell_backend_dummy_get_output(shell_zephyr, &buffer_size);
	zassert_not_null(strstr(outbuffer, "= G3,"),
			 "powerinfo did not report G3: %s", outbuffer);
}

ZTEST_SUITE(console_cmd_pwrseq, ap_power_predicate_post_main, NULL, NULL, NULL,
	    NULL);
```

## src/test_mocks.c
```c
/* Copyright 2022 The ChromiumOS Authors
 * Use of this source code is governed by a BSD-style license that can be
 * found in the LICENSE file.
 */

#include "test_mocks.h"

#include <zephyr/fff.h>
#include <zephyr/ztest.h>

/* Mocks for common/extpower_gpio.c */
DEFINE_FAKE_VALUE_FUNC(int, extpower_is_present);
DEFINE_FAKE_VOID_FUNC(extpower_interrupt, enum gpio_signal);

/* Mocks for common/system.c */
DEFINE_FAKE_VOID_FUNC(system_hibernate, uint32_t, uint32_t);
DEFINE_FAKE_VALUE_FUNC(int, system_can_boot_ap);

/**
 * @brief Reset all the fakes before each test.
 */
static void fff_reset_rule_before(const struct ztest_unit_test *test,
				  void *data)
{
	ARG_UNUSED(test);
	ARG_UNUSED(data);

	RESET_FAKE(extpower_is_present);
	RESET_FAKE(extpower_interrupt);
	RESET_FAKE(system_hibernate);
	RESET_FAKE(system_can_boot_ap);
	system_can_boot_ap_fake.return_val = 1;
}

ZTEST_RULE(fff_reset_rule, fff_reset_rule_before, NULL);
```
